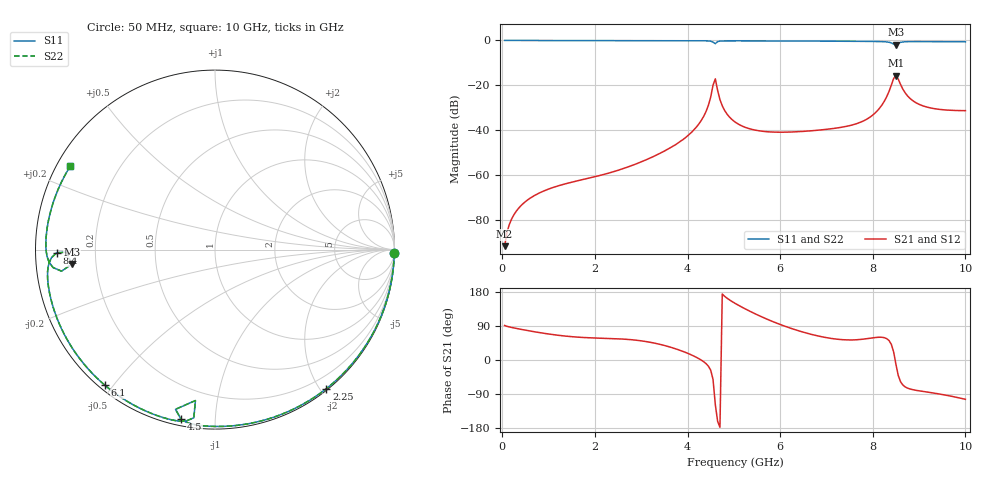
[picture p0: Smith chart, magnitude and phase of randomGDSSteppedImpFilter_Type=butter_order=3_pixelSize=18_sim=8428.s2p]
! freq	dB(S11)	phase(S11)	dB(S12)	phase(S12)
!  dB(S21)	phase(S21)	dB(S22)	phase(S22)
!S-par simulation data
#  GHz  S  DB  R 50
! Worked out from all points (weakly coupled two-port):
!   200 points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, 50 MHz to 10 GHz, reference 50 ohm
!   highest |S21| = -15.69 dB at 8.5 GHz (marker M1); lowest = -91.9 dB at 50 MHz (marker M2)
!   lowest |S11| = -1.9 dB at 8.5 GHz (marker M3), VSWR 9.08, Z = 5.52 - j2.49 ohm
!   |S11| at or under -10 dB: nowhere
!   |S22| runs from -1.9 to 0.0 dB; largest |S21 - S12| = 0
!   S11 on the Smith chart (normalised r, x): 50 MHz: open; 2.25 GHz: 0.02, -2.08; 4.5 GHz: 0.03, -0.82; 6.1 GHz: 0.02, -0.48; 8.4 GHz: 0.06, -0.01; 10 GHz: 0.04, +0.27
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0.05  -0.00 -1.1  -91.88 91.2  -91.88 91.2  -0.00 -1.1
0.2  -0.01 -4.6  -79.80 85.9  -79.80 85.9  -0.01 -4.6
0.75  -0.02 -17.4  -68.64 73.3  -68.64 73.3  -0.02 -17.4
1.75  -0.05 -40.2  -62.08 59.4  -62.08 59.4  -0.05 -40.2
2.25  -0.07 -51.3  -59.52 57.1  -59.52 57.1  -0.07 -51.3
3.4  -0.10 -76.0  -50.46 41.4  -50.46 41.4  -0.10 -76.0
4.15  -0.13 -91.8  -39.65 9.6  -39.65 9.6  -0.13 -91.8
4.35  -0.16 -96.4  -33.84 -4.7  -33.84 -4.7  -0.16 -96.4
4.5  -0.31 -101.3  -25.32 -26.8  -25.32 -26.8  -0.31 -101.3
4.6  -1.43 -97.4  -17.13 -117.8  -17.13 -117.8  -1.43 -97.4
4.75  -0.22 -101.2  -29.19 174.1  -29.19 174.1  -0.22 -101.2
5.05  -0.18 -108.3  -36.76 147.8  -36.76 147.8  -0.18 -108.3
6.1  -0.23 -129.1  -40.97 89.2  -40.97 89.2  -0.23 -129.1
6.7  -0.28 -140.9  -40.30 66.8  -40.30 66.8  -0.28 -140.9
7.8  -0.40 -163.1  -35.93 55.1  -35.93 55.1  -0.40 -163.1
8.1  -0.47 -169.9  -31.37 59.8  -31.37 59.8  -0.47 -169.9
8.35  -0.80 -177.2  -22.80 51.4  -22.80 51.4  -0.80 -177.2
8.4  -1.09 -178.9  -20.00 41.5  -20.00 41.5  -1.08 -178.9
8.5  -1.92 -174.2  -15.69 -11.3  -15.69 -11.3  -1.92 -174.2
8.7  -0.58 -177.5  -23.42 -71.0  -23.42 -71.0  -0.58 -177.5
8.95  -0.51 175.4  -28.02 -80.3  -28.02 -80.3  -0.51 175.4
10  -0.62 149.9  -31.36 -103.7  -31.36 -103.7  -0.62 149.9
